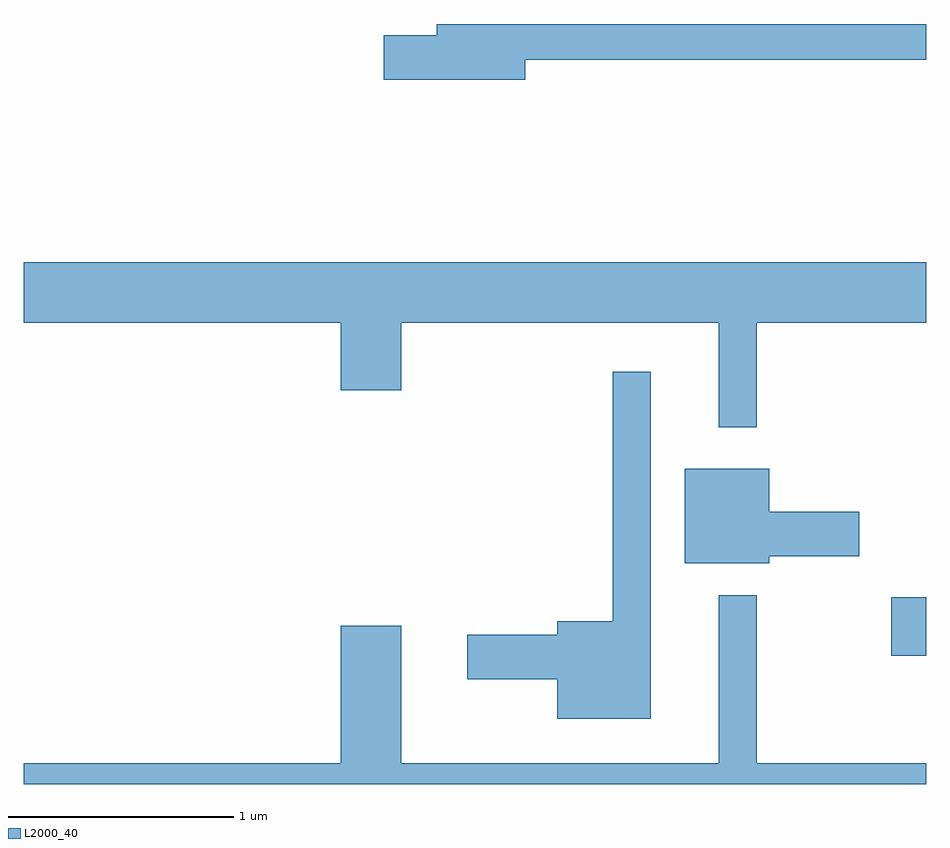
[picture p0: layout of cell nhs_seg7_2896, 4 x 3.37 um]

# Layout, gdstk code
import gdstk
lib = gdstk.Library(unit=1e-6, precision=1e-09)
def R(c, l, rs):  # rectangles x0, y0, x1, y1
    for r in rs: c.add(gdstk.rectangle(r[:2], r[2:], *l))
def P(c, l, *ps):  # polygons
    for p in ps: c.add(gdstk.Polygon(p, *l))
L2000_40 = (2000, 40)

nhs_seg7_2896 = lib.new_cell('nhs_seg7_2896')
R(nhs_seg7_2896, L2000_40, [(277.456,1732.821,277.611,1733.079)])
P(nhs_seg7_2896, L2000_40, [(275.834,1735.461),(277.611,1735.461),(277.611,1735.619),(275.441,1735.619),(275.441,1735.569),(275.206,1735.569),(275.206,1735.371),(275.834,1735.371)],
  [(276.859,1734.296),(277.611,1734.296),(277.611,1734.564),(273.611,1734.564),(273.611,1734.296),(275.016,1734.296),(275.016,1733.996),(275.284,1733.996),(275.284,1734.296),(276.691,1734.296),(276.691,1733.833),(276.859,1733.833)],
  [(276.389,1734.078),(276.221,1734.078),(276.221,1732.974),(275.976,1732.974),(275.976,1732.914),(275.576,1732.914),(275.576,1732.716),(275.976,1732.716),(275.976,1732.541),(276.389,1732.541)],
  [(276.914,1733.261),(277.314,1733.261),(277.314,1733.459),(276.914,1733.459),(276.914,1733.649),(276.541,1733.649),(276.541,1733.231),(276.914,1733.231)],
  [(277.611,1732.344),(276.859,1732.344),(276.859,1733.088),(276.691,1733.088),(276.691,1732.344),(275.284,1732.344),(275.284,1732.954),(275.016,1732.954),(275.016,1732.344),(273.611,1732.344),(273.611,1732.252),(277.611,1732.252)])

lib.write_gds('nhs_seg7_2896.gds')
